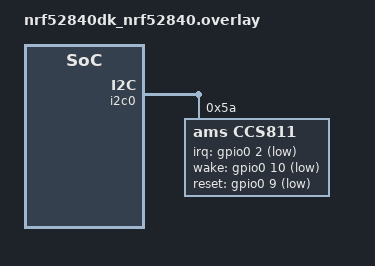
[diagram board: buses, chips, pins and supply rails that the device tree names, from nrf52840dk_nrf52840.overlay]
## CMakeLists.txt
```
# SPDX-License-Identifier: Apache-2.0

cmake_minimum_required(VERSION 3.20.0)
find_package(Zephyr REQUIRED HINTS $ENV{ZEPHYR_BASE})
project(blinky)

# Add the executable target
#add_executable(app src/main.c)

target_sources(app PRIVATE src/main.c
	# src/sps30.c
    # src/sensirion_common.c
    # src/hal.c
	# src/sensirion_i2c.c
	# src/sensirion_i2c_hal.c
	src/sensors/sps30/sps30.c
    src/sensors/sps30/hal.c
    src/sensors/scd41/scd4x_i2c.c
    src/sensors/scd41/sensirion_common.c
    src/sensors/scd41/sensirion_i2c_hal.c
    src/sensors/scd41/sensirion_i2c.c
	src/cJSON.h
    src/cJSON.c )

# Optionally, if you have header files, you can include their directories
# target_include_directories(app PRIVATE ${CMAKE_CURRENT_SOURCE_DIR}/src)
```

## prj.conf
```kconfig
CONFIG_GPIO=y

CONFIG_STDOUT_CONSOLE=y
CONFIG_I2C=y
CONFIG_SENSOR=y
CONFIG_CBPRINTF_FP_SUPPORT=y

CONFIG_SMF=y
CONFIG_ADC=y

CONFIG_UART_ASYNC_API=y

CONFIG_OPENTHREAD_NORDIC_LIBRARY_FTD=y
CONFIG_NET_L2_OPENTHREAD=y
CONFIG_NETWORKING=y
CONFIG_OPENTHREAD_MANUAL_START=n
CONFIG_OPENTHREAD_NETWORK_NAME="WSN15"
CONFIG_OPENTHREAD_PANID=10000
# CONFIG_OPENTHREAD_XPANID="fb:02:00:00:ab:cd:00:00"
CONFIG_OPENTHREAD_XPANID="fb:02:00:00:ab:cd:00:45"
CONFIG_OPENTHREAD_NETWORKKEY="00:11:22:33:44:55:66:77:88:99:aa:bb:cc:dd:ee:ff"


# Network shell
CONFIG_SHELL=y
CONFIG_OPENTHREAD_SHELL=y
CONFIG_SHELL_ARGC_MAX=26
CONFIG_SHELL_CMD_BUFF_SIZE=416

#Additional parameter
CONFIG_MBEDTLS_SHA1_C=n
CONFIG_FPU=y

# Enable OpenThread CoAP support API
# CONFIG_OPENTHREAD_COAP=y
```

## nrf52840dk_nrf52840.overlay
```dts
// To get started, press Ctrl+Space to bring up the completion menu and view the available nodes.

// You can also use the buttons in the sidebar to perform actions on nodes.
// Actions currently available include:

// * Enabling / disabling the node
// * Adding the bus to a bus
// * Removing the node
// * Connecting ADC channels

// For more help, browse the DeviceTree documentation at https: //docs.zephyrproject.org/latest/guides/dts/index.html
// You can also visit the nRF DeviceTree extension documentation at https: //nrfconnect.github.io/vscode-nrf-connect/devicetree/nrfdevicetree.html

/ {
  chosen {
    zephyr,entropy = &rng;
  };
};

&i2c0 {
  status = "okay";

  ccs811: ccs811@5a {
    compatible = "ams,ccs811";
    reg = <0x5a>;
    label = "CCS811";
    irq-gpios = <&gpio0 2 GPIO_ACTIVE_LOW>;
    wake-gpios = <&gpio0 10 GPIO_ACTIVE_LOW>;
    reset-gpios = <&gpio0 9 GPIO_ACTIVE_LOW>;
  };
};
```

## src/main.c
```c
#include <zephyr/device.h>
#include <zephyr/drivers/sensor.h>
#include <zephyr/drivers/i2c.h>
#include <zephyr/kernel.h>
#include <zephyr/sys/printk.h>
#include <zephyr/net/openthread.h>
#include <openthread/thread.h>
#include <openthread/udp.h>
#include <zephyr/drivers/sensor/ccs811.h>
#include <stdio.h> // printf

#include "sensors/sps30/sps30.h"
#include "cJSON.h"
// #include "scd4x_i2c.h"
#include "sensors/scd41/scd4x_i2c.h"
#include "sensors/scd41/sensirion_common.h"
#include "sensors/scd41/sensirion_i2c_hal.h"

int16_t get_serial(int16_t error, int16_t serial_0, int16_t serial_1, int16_t serial_2);
bool read_scd41();

#define SLEEP_TIME_MS 5000
#define I2C_DEV DT_LABEL(DT_ALIAS(i2c0))
#define I2C_NODE DT_NODELABEL(i2c0)
#define I2C_DEV_LABEL DT_LABEL(DT_NODELABEL(i2c0))
#define interval 30

struct sensor_value _eco2, _tvoc;

uint16_t _co2;
int32_t _temperature;
int32_t _humidity;

// Function to create a JSON string dynamically
char *create_json_string(int eco2, int tvoc, struct sensor_value pm1, struct sensor_value pm2, struct sensor_value pm4, struct sensor_value pm10, struct sensor_value temperature, struct sensor_value humidity, int co2)
{
        // Create a JSON object
        cJSON *json = cJSON_CreateObject();

        if (json == NULL)
        {
                fprintf(stderr, "Failed to create JSON object.\n");
                return NULL;
        }

        // Add a float to the JSON object
        cJSON_AddNumberToObject(json, "eco2", eco2);

        cJSON_AddNumberToObject(json, "tvoc", tvoc);

        // Create a JSON array
        cJSON *array = cJSON_CreateArray();

        // Add an integer and a float to the array
        cJSON_AddItemToArray(array, cJSON_CreateNumber(pm1.val1));
        cJSON_AddItemToArray(array, cJSON_CreateNumber(pm1.val2));

        // Add the array to the JSON object with the key "values"
        cJSON_AddItemToObject(json, "pm1", array);

        array = cJSON_CreateArray();
        // Add an integer and a float to the array
        cJSON_AddItemToArray(array, cJSON_CreateNumber(pm2.val1));
        cJSON_AddItemToArray(array, cJSON_CreateNumber(pm2.val2));

        // Add the array to the JSON object with the key "values"
        cJSON_AddItemToObject(json, "pm2.5", array);

        array = cJSON_CreateArray();
        // Add an integer and a float to the array
        cJSON_AddItemToArray(array, cJSON_CreateNumber(pm4.val1));
        cJSON_AddItemToArray(array, cJSON_CreateNumber(pm4.val2));

        // Add the array to the JSON object with the key "values"
        cJSON_AddItemToObject(json, "pm4", array);

        array = cJSON_CreateArray();
        // Add an integer and a float to the array
        cJSON_AddItemToArray(array, cJSON_CreateNumber(pm10.val1));
        cJSON_AddItemToArray(array, cJSON_CreateNumber(pm10.val2));

        // Add the array to the JSON object with the key "values"
        cJSON_AddItemToObject(json, "pm10", array);

        cJSON_AddNumberToObject(json, "co2", co2);

        // cJSON_AddNumberToObject(json, "humidity", _humidity);

        // cJSON_AddNumberToObject(json, "temperature", _temperature);

        array = cJSON_CreateArray();
        // Add an integer and a float to the array
        cJSON_AddItemToArray(array, cJSON_CreateNumber(humidity.val1));
        cJSON_AddItemToArray(array, cJSON_CreateNumber(humidity.val2));

        // Add the array to the JSON object with the key "values"
        cJSON_AddItemToObject(json, "humidity", array);

        array = cJSON_CreateArray();
        // Add an integer and a float to the array
        cJSON_AddItemToArray(array, cJSON_CreateNumber(temperature.val1));
        cJSON_AddItemToArray(array, cJSON_CreateNumber(temperature.val2));

        // Add the array to the JSON object with the key "values"
        cJSON_AddItemToObject(json, "temperature", array);

        // Print the JSON object
        char *json_string = cJSON_Print(json);
        if (json_string == NULL)
        {
                cJSON_Delete(json);
                fprintf(stderr, "Failed to print JSON object.\n");
                return NULL;
        }

        // Free the JSON object
        cJSON_Delete(json);

        // Return the JSON string
        return json_string;
}

static void udp_send(char *string)
{
        otError error = OT_ERROR_NONE;
        const char *buf = string;
        printk("Sending Data :- %s\n", buf);
        otInstance *myInstance;
        myInstance = openthread_get_default_instance();
        otUdpSocket mySocket;
        otMessageInfo messageInfo;
        memset(&messageInfo, 0, sizeof(messageInfo));
        otIp6AddressFromString("ff03::1", &messageInfo.mPeerAddr);
        messageInfo.mPeerPort = 1235;
        do
        {
                error = otUdpOpen(myInstance, &mySocket, NULL, NULL);
                if (error != OT_ERROR_NONE)
                {
                        break;
                }
                otMessage *test_Message = otUdpNewMessage(myInstance, NULL);
                error = otMessageAppend(test_Message, buf, (uint16_t)strlen(buf));
                if (error != OT_ERROR_NONE)
                {
                        break;
                }
                error = otUdpSend(myInstance, &mySocket, test_Message, &messageInfo);
                if (error != OT_ERROR_NONE)
                {
                        break;
                }
                error = otUdpClose(myInstance, &mySocket);
        } while (false);
        if (error == OT_ERROR_NONE)
        {
                printk("Send.\n");
        }
        else
        {
                printk("udpSend error: %d\n", error);
        }
}

int16_t get_serial(int16_t error, int16_t serial_0, int16_t serial_1, int16_t serial_2)
{
        error = scd4x_get_serial_number(&serial_0, &serial_1, &serial_2);
        return error;
}

bool read_scd41()
{
        int16_t error;
        bool data_ready_flag = false;
        error = scd4x_get_data_ready_flag(&data_ready_flag);
        if (error)
        {
                printf("Error executing scd4x_get_data_ready_flag(): %i\n", error);
                _humidity = -1;
                _temperature = -1;
                return false;
        }
        if (!data_ready_flag)
        {
                _humidity = -1;
                _temperature = -1;
                return false;
        }

        error = scd4x_read_measurement(&_co2, &_temperature, &_humidity);
        if (error)
        {
                _humidity = -1;
                _temperature = -1;
                printf("Error executing scd4x_read_measurement(): %i\n", error);
                return false;
        }
        else if (_co2 == 0)
        {
                printf("Invalid sample detected, skipping.\n");
                _humidity = -1;
                _temperature = -1;
        }
        else
        {
                printk("SCD41: \n");
                _temperature = _temperature / 1000;
                _humidity = _humidity / 1000;
                printk("CO2: %u ppm\n", _co2);
                printk("Temperature: %u *C\n", _temperature);
                printk("Humidity: %u %%\n", _humidity);
        }
        return true;
}

void read_ccs811(struct device ccs811)
{
        //     /* Initialize CCS811 */
        // const struct device *ccs811 = DEVICE_DT_GET_ONE(ams_ccs811);
        int rc = 0;
        rc = sensor_sample_fetch(&ccs811);

        if (rc == 0)
        {
                sensor_channel_get(&ccs811, SENSOR_CHAN_CO2, &_eco2);
                sensor_channel_get(&ccs811, SENSOR_CHAN_VOC, &_tvoc);
        }
        else
        {
                _eco2.val1 = -1;
                _tvoc.val1 = -1;
        }

        printk("\nCCS811: %u ppm eCO2: %u ppb eTVOC\n", _eco2.val1, _tvoc.val1);
}

struct sps30_measurement read_sps30(int16_t ret, struct sps30_measurement m)
{
        sensirion_sleep_usec(SPS30_MEASUREMENT_DURATION_USEC);
        ret = sps30_read_measurement(&m);
        if (ret < 0)
        {
                printk("error reading measurement\n");
                m.mc_1p0 = -1;
                m.mc_2p5 = -1;
                m.mc_4p0 = -1;
                m.mc_10p0 = -1;
        }
        else
        {
                printk("SPS30:\n"
                       "%0.2f pm1.0\n"
                       "%0.2f pm2.5\n"
                       "%0.2f pm4.0\n"
                       "%0.2f pm10.0\n"
                       "%0.2f nc0.5\n"
                       "%0.2f nc1.0\n"
                       "%0.2f nc2.5\n"
                       "%0.2f nc4.5\n"
                       "%0.2f nc10.0\n"
                       "%0.2f typical particle size\n\n",
                       (double)m.mc_1p0, (double)m.mc_2p5, (double)m.mc_4p0, (double)m.mc_10p0, (double)m.nc_0p5, (double)m.nc_1p0,
                       (double)m.nc_2p5, (double)m.nc_4p0, (double)m.nc_10p0, (double)m.typical_particle_size);
        }
        return m;
}

int main(void)
{
        // --------------------------Initializing SCD41--------------------------
        int16_t error = 0;
        sensirion_i2c_hal_init();
        scd4x_wake_up();
        scd4x_stop_periodic_measurement();
        scd4x_reinit();
        struct sensor_value temp, humi;

        uint16_t serial_0 = 0;
        uint16_t serial_1 = 0;
        uint16_t serial_2 = 0;

        error = get_serial(error, serial_0, serial_1, serial_2);
        if (error)
        {
                printk("Error executing scd4x_get_serial_number(): %i\n", error);
                _humidity = -1;
                _temperature = -1;
        }
        else
        {
                printk("serial: 0x%04x%04x%04x\n", serial_0, serial_1, serial_2);
                _humidity = -1;
                _temperature = -1;
        }

        error = scd4x_start_periodic_measurement();
        if (error)
        {
                printk("Error executing scd4x_start_periodic_measurement(): %i\n",
                       error);
                _humidity = -1;
                _temperature = -1;
        }

        // --------------------------Initializing ccs811--------------------------
        const struct device *ccs811 = DEVICE_DT_GET_ONE(ams_ccs811);

        sensirion_i2c_init();

        if (ccs811 == NULL) // ccs811_init(&ccs811, i2c_dev, CCS811_I2C_ADDRESS) != 0
        {
                printk("Failed to initialize CCS811 sensor\n");
                _eco2.val1 = -1;
                _tvoc.val1 = -1;
        }
        printk("CCS811 initialized\n");

        // --------------------------Initializing sps30--------------------------

        uint8_t fw_major;
        uint8_t fw_minor;
        int16_t ret;
        struct sps30_measurement m;
        struct sensor_value pm1, pm2, pm4, pm10;

        while (sps30_probe() != 0)
        {
                printk("SPS30 sensor probing failed\n");
                k_sleep(K_SECONDS(1));
        }
        printk("SPS sensor probing successful\n");

        ret = sps30_read_firmware_version(&fw_major, &fw_minor);
        if (ret)
        {
                printk("error reading firmware version\n");
        }
        else
        {
                printk("FW: %u.%u\n", fw_major, fw_minor);
        }

        char serial_number[SPS30_MAX_SERIAL_LEN];
        ret = sps30_get_serial(serial_number);
        if (ret)
        {
                printk("error reading serial number\n");
        }
        else
        {
                printk("Serial Number: %s\n\n", serial_number);
        }

        ret = sps30_start_measurement();
        if (ret < 0)
        {
                printk("error starting measurement\n");
                m.mc_1p0 = -1;
                m.mc_2p5 = -1;
                m.mc_4p0 = -1;
                m.mc_10p0 = -1;
        }

        printk("Attempting to read data from all three sensors.\n");

        while (1)
        {
                bool success = read_scd41();
                if (!success)
                {
                        continue;
                        k_sleep(K_SECONDS(5));
                }
                read_ccs811(*ccs811);
                m = read_sps30(ret, m);
                //  This below code for convert the float value to two int numbers
                // For example 12.52 float value so first int value is 12 and second is 52
                sensor_value_from_float(&pm1, m.mc_1p0);
                sensor_value_from_float(&pm2, m.mc_2p5);
                sensor_value_from_float(&pm4, m.mc_4p0);
                sensor_value_from_float(&pm10, m.mc_10p0);

                sensor_value_from_float(&humi, _humidity);
                sensor_value_from_float(&temp, _temperature);

                // This function is helps to convert the normal string to JSON string
                char *json_string = create_json_string((int)_eco2.val1, (int)_tvoc.val1, pm1, pm2, pm4, pm10, temp, humi, _co2);

                // printk("Sending Data :- %s\n", json_string);

                // This funstion send json string to other board using COAP protocol
                // coap_send_data_request(json_string);
                udp_send(json_string);

                k_sleep(K_SECONDS(interval));
        }
        return 0;
}
```
